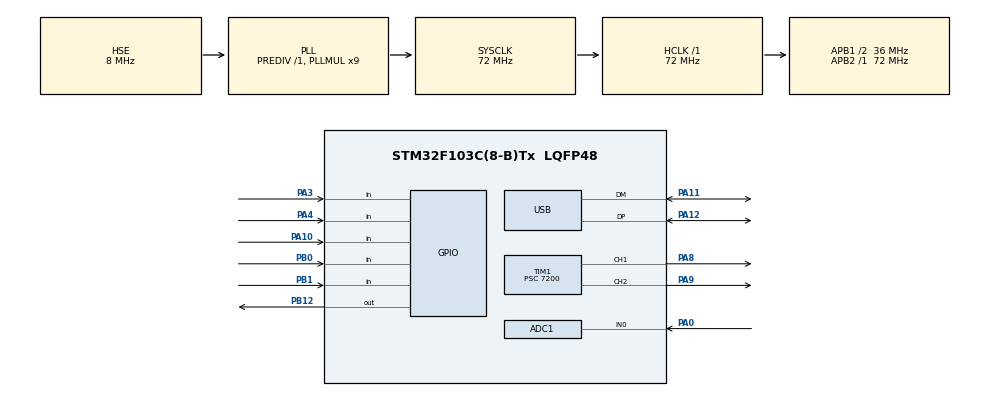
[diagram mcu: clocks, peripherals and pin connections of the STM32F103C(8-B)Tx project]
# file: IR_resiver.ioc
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ADC1.Channel-1\#ChannelRegularConversion=ADC_CHANNEL_0
ADC1.NbrOfConversionFlag=1
ADC1.Rank-1\#ChannelRegularConversion=1
ADC1.SamplingTime-1\#ChannelRegularConversion=ADC_SAMPLETIME_1CYCLE_5
ADC1.master=1
Mcu.Family=STM32F1
Mcu.Name=STM32F103C(8-B)Tx
Mcu.Package=LQFP48
NVIC.PriorityGroup=NVIC_PRIORITYGROUP_4
NVIC.TIM2_IRQn=true\:0\:0\:false\:false\:true\:true\:true
NVIC.TIM3_IRQn=true\:0\:0\:false\:false\:true\:true\:true
NVIC.USB_LP_CAN1_RX0_IRQn=true\:0\:0\:false\:false\:true\:true\:true
PA0-WKUP.Signal=ADCx_IN0
PA10.GPIO_PuPd=GPIO_PULLDOWN
PA10.Signal=GPIO_Input
PA11.Mode=Device
PA11.Signal=USB_DM
PA12.Mode=Device
PA12.Signal=USB_DP
PA13.Mode=Serial_Wire
PA13.Signal=SYS_JTMS-SWDIO
PA14.Mode=Serial_Wire
PA14.Signal=SYS_JTCK-SWCLK
PA3.Signal=GPIO_Input
PA4.Signal=GPIO_Input
PA8.Signal=S_TIM1_CH1
PA9.Signal=S_TIM1_CH2
PB0.Signal=GPIO_Input
PB1.Signal=GPIO_Input
PB12.Signal=GPIO_Output
PD0-OSC_IN.Mode=HSE-External-Oscillator
PD0-OSC_IN.Signal=RCC_OSC_IN
PD1-OSC_OUT.Mode=HSE-External-Oscillator
PD1-OSC_OUT.Signal=RCC_OSC_OUT
ProjectManager.HeapSize=0x200
ProjectManager.StackSize=0x400
ProjectManager.TargetToolchain=STM32CubeIDE
RCC.ADCPresc=RCC_ADCPCLK2_DIV6
RCC.AHBFreq_Value=72000000
RCC.APB1CLKDivider=RCC_HCLK_DIV2
RCC.APB1Freq_Value=36000000
RCC.APB1TimFreq_Value=72000000
RCC.APB2Freq_Value=72000000
RCC.APB2TimFreq_Value=72000000
RCC.HCLKFreq_Value=72000000
RCC.PLLMUL=RCC_PLL_MUL9
RCC.PLLSourceVirtual=RCC_PLLSOURCE_HSE
RCC.SYSCLKFreq_VALUE=72000000
RCC.SYSCLKSource=RCC_SYSCLKSOURCE_PLLCLK
RCC.USBFreq_Value=48000000
RCC.USBPrescaler=RCC_USBCLKSOURCE_PLL_DIV1_5
SH.ADCx_IN0.0=ADC1_IN0,IN0
SH.S_TIM1_CH1.0=TIM1_CH1,PWM Generation1 CH1
SH.S_TIM1_CH2.0=TIM1_CH2,PWM Generation2 CH2
TIM1.Channel-PWM\ Generation1\ CH1=TIM_CHANNEL_1
TIM1.Channel-PWM\ Generation2\ CH2=TIM_CHANNEL_2
TIM1.Period=100-1
TIM1.Prescaler=7200
TIM2.Period=50 - 1
TIM2.Prescaler=72
TIM3.Period=50000-1
TIM3.Prescaler=720
USB_DEVICE.CLASS_NAME_FS=CDC
USB_DEVICE.VirtualMode=Cdc
USB_DEVICE.VirtualModeFS=Cdc_FS
VP_TIM1_VS_ClockSourceINT.Mode=Internal
VP_TIM2_VS_ClockSourceINT.Mode=Internal
VP_TIM3_VS_ClockSourceINT.Mode=Internal
VP_USB_DEVICE_VS_USB_DEVICE_CDC_FS.Mode=CDC_FS
board=custom

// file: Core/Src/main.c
/* USER CODE BEGIN Header */
/**
  ******************************************************************************
  * @file           : main.c
  * @brief          : Main program body
  ******************************************************************************
  * @attention
  *
  * <h2><center>&copy; Copyright (c) 2021 STMicroelectronics.
  * All rights reserved.</center></h2>
  *
  * This software component is licensed by ST under BSD 3-Clause license,
  * the "License"; You may not use this file except in compliance with the
  * License. You may obtain a copy of the License at:
  *                        opensource.org/licenses/BSD-3-Clause
  *
  ******************************************************************************
  */
/* USER CODE END Header */
#include "main.h"
#include "usb_device.h"

/* USER CODE BEGIN Includes */
#include "Ch_protocol.h"
#include "IRresiver_ch.h"
#include "PID_ch.h"
/* USER CODE END Includes */

/* USER CODE BEGIN PD */

#define code_revl 0x40
#define code_time 0x41
#define code_menu 0x42
#define code_tecleando 0x43
#define code_distancia 0x44

/* USER CODE END PD */

ADC_HandleTypeDef hadc1;

TIM_HandleTypeDef htim1;
TIM_HandleTypeDef htim2;
TIM_HandleTypeDef htim3;

/* USER CODE BEGIN PV */

volatile uint8_t dataResiveSerial[125];

void rotate_data();
void select_data(); // selecionar el dato a cambiar

//contadores
volatile uint32_t lenBuffer, counterTime = 0;
volatile uint8_t read = 1;

uint8_t len             = 1,
		command         = 0x30,
		numData         = 0;

// DATOS

uint8_t menu = 0;
uint8_t revoluciones;
volatile uint32_t tiempo_motor;
uint8_t data_for_send[50];
volatile uint32_t counter_motor_time = 0;

// state sensores herradura

State_sensor actual, anterior;
Direction move;

uint8_t num_sensor, direccion_num,
max_menu = 2;

int distancia;
uint32_t pulsos;
uint32_t temp_dis;
uint16_t r1_enter;

// detectar velocidad

uint16_t delta_time = 1;
uint32_t velocidad = 0;

volatile uint16_t counterPID = 0;

GPIO_PinState start = GPIO_PIN_SET,
			  res_V = GPIO_PIN_RESET;
			  res_a = GPIO_PIN_RESET;

// adc_value

uint16_t adc_value;
uint8_t ampere;

float r1 = 0,r2 = 0;

/* USER CODE END PV */

void SystemClock_Config(void);
static void MX_GPIO_Init(void);
static void MX_TIM2_Init(void);
static void MX_TIM1_Init(void);
static void MX_TIM3_Init(void);
static void MX_ADC1_Init(void);

/* USER CODE BEGIN PFP */

void state_motor( Motor * ref);
void detect_vel();
void Read_ADC();
void initMotor( Motor * ref, GPIO_TypeDef * ch,
		uint16_t pin_1 , uint16_t pin_2, uint16_t tim_ch);

void ref_update();

//uint32_t prueba();

// serial communication

/* USER CODE END PFP */

int main(void)
{

  /* MCU Configuration--------------------------------------------------------*/

  /* Reset of all peripherals, Initializes the Flash interface and the Systick. */
  HAL_Init();

  /* Configure the system clock */
  SystemClock_Config();

  /* Initialize all configured peripherals */
  MX_GPIO_Init();
  MX_USB_DEVICE_Init();
  MX_TIM2_Init();
  MX_TIM1_Init();
  MX_TIM3_Init();
  MX_ADC1_Init();
  /* USER CODE BEGIN 2 */

  HAL_TIM_Base_Start_IT(&htim2);
  HAL_TIM_Base_Start(&htim3);
  HAL_TIM_PWM_Start(&htim1, TIM_CHANNEL_1);
  HAL_TIM_PWM_Start(&htim1, TIM_CHANNEL_2);

  InitResiver(GPIOA,  GPIO_PIN_10);

  protocolInit( GPIO_PIN_SET );

  initMotor(&M1, GPIOA, GPIO_PIN_2, GPIO_PIN_3, TIM_CHANNEL_1);
  initMotor(&M2, GPIOB, GPIO_PIN_0, GPIO_PIN_1, TIM_CHANNEL_2);

  revoluciones = 50;
  tiempo_motor = 0;
  numData = 0;
  pulsos = 0;

	for( uint8_t i = 0; i < 10; i++){
		dataResiveSerial[i] = 0;
	}

  // timer init CCR1

  TIM1 -> CCR1 = 100 - 1;
  TIM1 -> CCR2 = 100 - 1;
  TIM1 -> ARR = 200 - 1;
  TIM1 -> PSC = 18;

	anterior = num_sensor;
	actual = num_sensor;

	//iniciar PID para cada motor

	initPID_ch_m(&M1);
	initPID_ch_m(&M2);

  /* USER CODE END 2 */

  /* Infinite loop */
  /* USER CODE BEGIN WHILE */

  while (1)

  {

	  Read_ADC();

	  if(read){
		  reciveData();
		  read = 0;
	  }

	  if(resive){
		  leer_num();
		  select_data();
		  resive = GPIO_PIN_RESET;
	  }

	  rotate_data();

	  // controlador

	  if(counterPID > 40 && start ){

		  //PID();

		  PID_m(&M1);
		  PID_m(&M2);
		  M1.revoluciones = (uint8_t) abs( M1.pid.u - 50 );
		  M2.revoluciones = (uint8_t) abs( M2.pid.u - 50 );

		  //revoluciones = abs(u - 50);
		  counterPID = 0;

	  }

	  // actualizar estado motores
	  state_motor(&M1);
	  state_motor(&M2);

	  communication(
			  &dataResiveSerial, // donde se va a guardar los datos
			  &resive_protocol, // si ya resivio datos
			  &data_for_send, // arreglo que va a enviar
			  &command, // comando
			  &len, // longitud
			  &numData); // actualiza el dato a enviar

// dataResiveSerial[1] == 0x60 &&
	  if(  check  ){
		  ref_update();
		  M1.in_pos = 0;
		  M2.in_pos = 0;
		  check = GPIO_PIN_RESET;
	  }

    /* USER CODE END WHILE */

  }
}

void SystemClock_Config(void)
{
  RCC_OscInitTypeDef RCC_OscInitStruct = {0};
  RCC_ClkInitTypeDef RCC_ClkInitStruct = {0};
  RCC_PeriphCLKInitTypeDef PeriphClkInit = {0};

  /** Initializes the RCC Oscillators according to the specified parameters
  * in the RCC_OscInitTypeDef structure.
  */
  RCC_OscInitStruct.OscillatorType = RCC_OSCILLATORTYPE_HSE;
  RCC_OscInitStruct.HSEState = RCC_HSE_ON;
  RCC_OscInitStruct.HSEPredivValue = RCC_HSE_PREDIV_DIV1;
  RCC_OscInitStruct.HSIState = RCC_HSI_ON;
  RCC_OscInitStruct.PLL.PLLState = RCC_PLL_ON;
  RCC_OscInitStruct.PLL.PLLSource = RCC_PLLSOURCE_HSE;
  RCC_OscInitStruct.PLL.PLLMUL = RCC_PLL_MUL9;
  if (HAL_RCC_OscConfig(&RCC_OscInitStruct) != HAL_OK)
  {
    Error_Handler();
  }
  /** Initializes the CPU, AHB and APB buses clocks
  */
  RCC_ClkInitStruct.ClockType = RCC_CLOCKTYPE_HCLK|RCC_CLOCKTYPE_SYSCLK
                              |RCC_CLOCKTYPE_PCLK1|RCC_CLOCKTYPE_PCLK2;
  RCC_ClkInitStruct.SYSCLKSource = RCC_SYSCLKSOURCE_PLLCLK;
  RCC_ClkInitStruct.AHBCLKDivider = RCC_SYSCLK_DIV1;
  RCC_ClkInitStruct.APB1CLKDivider = RCC_HCLK_DIV2;
  RCC_ClkInitStruct.APB2CLKDivider = RCC_HCLK_DIV1;

  if (HAL_RCC_ClockConfig(&RCC_ClkInitStruct, FLASH_LATENCY_2) != HAL_OK)
  {
    Error_Handler();
  }
  PeriphClkInit.PeriphClockSelection = RCC_PERIPHCLK_ADC|RCC_PERIPHCLK_USB;
  PeriphClkInit.AdcClockSelection = RCC_ADCPCLK2_DIV6;
  PeriphClkInit.UsbClockSelection = RCC_USBCLKSOURCE_PLL_DIV1_5;
  if (HAL_RCCEx_PeriphCLKConfig(&PeriphClkInit) != HAL_OK)
  {
    Error_Handler();
  }
}

static void MX_ADC1_Init(void)
{

  ADC_ChannelConfTypeDef sConfig = {0};

  /** Common config
  */
  hadc1.Instance = ADC1;
  hadc1.Init.ScanConvMode = ADC_SCAN_DISABLE;
  hadc1.Init.ContinuousConvMode = DISABLE;
  hadc1.Init.DiscontinuousConvMode = DISABLE;
  hadc1.Init.ExternalTrigConv = ADC_SOFTWARE_START;
  hadc1.Init.DataAlign = ADC_DATAALIGN_RIGHT;
  hadc1.Init.NbrOfConversion = 1;
  if (HAL_ADC_Init(&hadc1) != HAL_OK)
  {
    Error_Handler();
  }
  /** Configure Regular Channel
  */
  sConfig.Channel = ADC_CHANNEL_0;
  sConfig.Rank = ADC_REGULAR_RANK_1;
  sConfig.SamplingTime = ADC_SAMPLETIME_1CYCLE_5;
  if (HAL_ADC_ConfigChannel(&hadc1, &sConfig) != HAL_OK)
  {
    Error_Handler();
  }

}

static void MX_TIM1_Init(void)
{

  TIM_ClockConfigTypeDef sClockSourceConfig = {0};
  TIM_MasterConfigTypeDef sMasterConfig = {0};
  TIM_OC_InitTypeDef sConfigOC = {0};
  TIM_BreakDeadTimeConfigTypeDef sBreakDeadTimeConfig = {0};

  htim1.Instance = TIM1;
  htim1.Init.Prescaler = 7200;
  htim1.Init.CounterMode = TIM_COUNTERMODE_UP;
  htim1.Init.Period = 100-1;
  htim1.Init.ClockDivision = TIM_CLOCKDIVISION_DIV1;
  htim1.Init.RepetitionCounter = 0;
  htim1.Init.AutoReloadPreload = TIM_AUTORELOAD_PRELOAD_DISABLE;
  if (HAL_TIM_Base_Init(&htim1) != HAL_OK)
  {
    Error_Handler();
  }
  sClockSourceConfig.ClockSource = TIM_CLOCKSOURCE_INTERNAL;
  if (HAL_TIM_ConfigClockSource(&htim1, &sClockSourceConfig) != HAL_OK)
  {
    Error_Handler();
  }
  if (HAL_TIM_PWM_Init(&htim1) != HAL_OK)
  {
    Error_Handler();
  }
  sMasterConfig.MasterOutputTrigger = TIM_TRGO_RESET;
  sMasterConfig.MasterSlaveMode = TIM_MASTERSLAVEMODE_DISABLE;
  if (HAL_TIMEx_MasterConfigSynchronization(&htim1, &sMasterConfig) != HAL_OK)
  {
    Error_Handler();
  }
  sConfigOC.OCMode = TIM_OCMODE_PWM1;
  sConfigOC.Pulse = 0;
  sConfigOC.OCPolarity = TIM_OCPOLARITY_HIGH;
  sConfigOC.OCNPolarity = TIM_OCNPOLARITY_HIGH;
  sConfigOC.OCFastMode = TIM_OCFAST_DISABLE;
  sConfigOC.OCIdleState = TIM_OCIDLESTATE_RESET;
  sConfigOC.OCNIdleState = TIM_OCNIDLESTATE_RESET;
  if (HAL_TIM_PWM_ConfigChannel(&htim1, &sConfigOC, TIM_CHANNEL_1) != HAL_OK)
  {
    Error_Handler();
  }
  if (HAL_TIM_PWM_ConfigChannel(&htim1, &sConfigOC, TIM_CHANNEL_2) != HAL_OK)
  {
    Error_Handler();
  }
  sBreakDeadTimeConfig.OffStateRunMode = TIM_OSSR_DISABLE;
  sBreakDeadTimeConfig.OffStateIDLEMode = TIM_OSSI_DISABLE;
  sBreakDeadTimeConfig.LockLevel = TIM_LOCKLEVEL_OFF;
  sBreakDeadTimeConfig.DeadTime = 0;
  sBreakDeadTimeConfig.BreakState = TIM_BREAK_DISABLE;
  sBreakDeadTimeConfig.BreakPolarity = TIM_BREAKPOLARITY_HIGH;
  sBreakDeadTimeConfig.AutomaticOutput = TIM_AUTOMATICOUTPUT_DISABLE;
  if (HAL_TIMEx_ConfigBreakDeadTime(&htim1, &sBreakDeadTimeConfig) != HAL_OK)
  {
    Error_Handler();
  }
  HAL_TIM_MspPostInit(&htim1);

}

static void MX_TIM2_Init(void)
{

  TIM_ClockConfigTypeDef sClockSourceConfig = {0};
  TIM_MasterConfigTypeDef sMasterConfig = {0};

  htim2.Instance = TIM2;
  htim2.Init.Prescaler = 72;
  htim2.Init.CounterMode = TIM_COUNTERMODE_UP;
  htim2.Init.Period = 50 - 1;
  htim2.Init.ClockDivision = TIM_CLOCKDIVISION_DIV1;
  htim2.Init.AutoReloadPreload = TIM_AUTORELOAD_PRELOAD_DISABLE;
  if (HAL_TIM_Base_Init(&htim2) != HAL_OK)
  {
    Error_Handler();
  }
  sClockSourceConfig.ClockSource = TIM_CLOCKSOURCE_INTERNAL;
  if (HAL_TIM_ConfigClockSource(&htim2, &sClockSourceConfig) != HAL_OK)
  {
    Error_Handler();
  }
  sMasterConfig.MasterOutputTrigger = TIM_TRGO_RESET;
  sMasterConfig.MasterSlaveMode = TIM_MASTERSLAVEMODE_DISABLE;
  if (HAL_TIMEx_MasterConfigSynchronization(&htim2, &sMasterConfig) != HAL_OK)
  {
    Error_Handler();
  }

}

static void MX_TIM3_Init(void)
{

  TIM_ClockConfigTypeDef sClockSourceConfig = {0};
  TIM_MasterConfigTypeDef sMasterConfig = {0};

  htim3.Instance = TIM3;
  htim3.Init.Prescaler = 720;
  htim3.Init.CounterMode = TIM_COUNTERMODE_UP;
  htim3.Init.Period = 50000-1;
  htim3.Init.ClockDivision = TIM_CLOCKDIVISION_DIV1;
  htim3.Init.AutoReloadPreload = TIM_AUTORELOAD_PRELOAD_DISABLE;
  if (HAL_TIM_Base_Init(&htim3) != HAL_OK)
  {
    Error_Handler();
  }
  sClockSourceConfig.ClockSource = TIM_CLOCKSOURCE_INTERNAL;
  if (HAL_TIM_ConfigClockSource(&htim3, &sClockSourceConfig) != HAL_OK)
  {
    Error_Handler();
  }
  sMasterConfig.MasterOutputTrigger = TIM_TRGO_RESET;
  sMasterConfig.MasterSlaveMode = TIM_MASTERSLAVEMODE_DISABLE;
  if (HAL_TIMEx_MasterConfigSynchronization(&htim3, &sMasterConfig) != HAL_OK)
  {
    Error_Handler();
  }

}

static void MX_GPIO_Init(void)
{
  GPIO_InitTypeDef GPIO_InitStruct = {0};

  /* GPIO Ports Clock Enable */
  __HAL_RCC_GPIOD_CLK_ENABLE();
  __HAL_RCC_GPIOA_CLK_ENABLE();
  __HAL_RCC_GPIOB_CLK_ENABLE();

  /*Configure GPIO pin Output Level */
  HAL_GPIO_WritePin(GPIOB, GPIO_PIN_12, GPIO_PIN_RESET);

  /*Configure GPIO pins : PA3 PA4 */
  GPIO_InitStruct.Pin = GPIO_PIN_3|GPIO_PIN_4;
  GPIO_InitStruct.Mode = GPIO_MODE_INPUT;
  GPIO_InitStruct.Pull = GPIO_NOPULL;
  HAL_GPIO_Init(GPIOA, &GPIO_InitStruct);

  /*Configure GPIO pins : PB0 PB1 */
  GPIO_InitStruct.Pin = GPIO_PIN_0|GPIO_PIN_1;
  GPIO_InitStruct.Mode = GPIO_MODE_INPUT;
  GPIO_InitStruct.Pull = GPIO_NOPULL;
  HAL_GPIO_Init(GPIOB, &GPIO_InitStruct);

  /*Configure GPIO pin : PB12 */
  GPIO_InitStruct.Pin = GPIO_PIN_12;
  GPIO_InitStruct.Mode = GPIO_MODE_OUTPUT_PP;
  GPIO_InitStruct.Pull = GPIO_NOPULL;
  GPIO_InitStruct.Speed = GPIO_SPEED_FREQ_LOW;
  HAL_GPIO_Init(GPIOB, &GPIO_InitStruct);

  /*Configure GPIO pin : PA10 */
  GPIO_InitStruct.Pin = GPIO_PIN_10;
  GPIO_InitStruct.Mode = GPIO_MODE_INPUT;
  GPIO_InitStruct.Pull = GPIO_PULLDOWN;
  HAL_GPIO_Init(GPIOA, &GPIO_InitStruct);

}

/* USER CODE BEGIN 4 */

void ref_update(){

	M2.pid.ref = (((float) (( (uint16_t) dataResiveSerial[4] << 8)
			| dataResiveSerial[3]))/0.72);

	M1.pid.ref = ((
			(float) (( (uint16_t) dataResiveSerial[6] << 8)
			| dataResiveSerial[5])) /0.72);

	if(r1 != M1.pid.ref){

		M1.pid.k = M1.pid.ref;
		Params_choose_m(&M1);
		r1 = M1.pid.ref;

	}
	if(r2 != M2.pid.ref){

		M2.pid.k = M2.pid.ref;
		Params_choose_m(&M2);
		r2 = M2.pid.ref;

	}

}

void rotate_data(){

	if(numData > 4){ // longitud de los datos a enviar
		numData = 0;
	}

	switch(numData){
	case 0:

		data_for_send[0] = (uint8_t) M1.revoluciones;
		data_for_send[1] = (uint8_t) M1.move;
		data_for_send[2] = (uint8_t) M1.pid.ref;
		data_for_send[3] = (uint8_t) ( (uint16_t) M1.pid.ref >> 8);
		data_for_send[4] = (uint8_t) ( (uint32_t) M1.pid.ref>> 16);
		data_for_send[5] = (uint8_t) adc_value;
		data_for_send[6] = (uint8_t) (adc_value >> 8);
		command = code_revl;
		len = 7;

		break;
	case 1:

		data_for_send[0] = (uint8_t) M2.pid.ref;
		data_for_send[1] = (uint8_t) ( (uint32_t) M2.pid.ref >> 8);
		data_for_send[2] = (uint8_t) ( (uint32_t) M2.pid.ref >> 16);
		data_for_send[3] = (uint8_t) r1_enter;
		data_for_send[4] = (uint8_t) (r1_enter >> 8);
		data_for_send[5] = (uint8_t) ( (M1.in_pos << 1) | (M2.in_pos));

		command = code_time;

		len = 6;

		break;

	case 2:

		data_for_send[0] = (uint8_t) menu;
		data_for_send[1] = (uint8_t) start;

		data_for_send[2] = (uint8_t) res_V;
		data_for_send[3] = (uint8_t) res_a;

		len = 4;
		command = code_menu;

		break;

	case 3:
		/*
		data_for_send[0] = (uint8_t) numero_seleccionado;
		data_for_send[1] = (uint8_t) (numero_seleccionado >> 8);
		data_for_send[2] = (uint8_t) (numero_seleccionado >> 16);
		*/

		data_for_send[0] = (uint8_t) M2.distancia;
		data_for_send[1] = (uint8_t) (M2.distancia >> 8);
		data_for_send[2] = (uint8_t) (M2.distancia >> 16);

		command = code_tecleando;
		len = 3;
		break;

	case 4:

		if(M1.distancia < 0)
		data_for_send[3] = (uint8_t) 1;
		else
		data_for_send[3] = (uint8_t) 0;

		temp_dis = (uint32_t) abs( M1.distancia);

		data_for_send[0] = (uint8_t) temp_dis;
		data_for_send[1] = (uint8_t) (temp_dis >> 8);
		data_for_send[2] = (uint8_t) (temp_dis >> 16);

		command = code_distancia;
		len = 4;

	}
}

void select_data(){

	max_menu = 5;

	if(Compress[1] == 0xEB){
		switch(Compress[0]){

		case 0xaf: // arriba
			if((menu + 1) > max_menu){
				menu = 0; // max option of the menu
			}else{
				menu += 1;
			}
			break;
		case 0xcf:
			if((menu - 1) < 0){
				menu = max_menu; // max option of the menu
			}else{
				menu -= 1;
			}
			break;
		}

		Compress[0] = 0;
	}

	if(Compress[0] == 0x68 && Compress[1] == 0xcb){

		switch(menu){
		case 0:
			if( numero_temp < 100 )
			M1.revoluciones = (uint8_t) (numero_temp);

			break;
		case 1:
			pulsos = numero_temp;
			break;
		case 2:
			if( numero_temp < 1000){

				r1_enter = numero_temp;
				M1.pid.ref = ( (float)numero_temp/0.72 );
				M1.pid.k = M1.pid.ref;
				M2.pid.ref = M1.pid.ref;
				M2.pid.k = M2.pid.ref;

				Params_choose_m(&M1);
				Params_choose_m(&M2);
			}
			break;
		case 3:
			start = !start;
			break;
		case 4:
			res_V = !res_V;
			break;
		case 5:
			res_a = !res_a;
			break;

		}
	}
}

void initMotor( Motor * ref, GPIO_TypeDef * ch, uint16_t pin_1 ,
		uint16_t pin_2, uint16_t tim_ch){

	ref -> GPIO_Pin_1 = pin_1;
	ref -> GPIO_Pin_2 = pin_2;
	ref -> GPIOx = ch;
	ref -> revoluciones = 50;
	ref -> distancia = 555;
	ref -> move = stop;
	ref -> tim_chanel = tim_ch;
	ref -> num_sensor = 0;
	ref -> num_sensor = (HAL_GPIO_ReadPin(ch, pin_2) << 1) |
			HAL_GPIO_ReadPin(ch , pin_1);
	ref -> in_pos = 0;

}

void state_motor( Motor * ref){

	ref -> num_sensor = 0;
	ref -> num_sensor =
			(HAL_GPIO_ReadPin(ref->GPIOx, ref->GPIO_Pin_2) << 1) |
			HAL_GPIO_ReadPin(ref->GPIOx, ref->GPIO_Pin_1);

	switch(ref->num_sensor){
	case 0:
		ref->actual = off_off; // 2
		break;
	case 1:
		ref->actual = off_on; // 3
		break;
	case 2:
		ref->actual = on_off; // 1
		break;
	case 3:
		ref->actual = on_on; // 4
		break;
	}

	if(ref->anterior != ref->actual){

		/*
		if(pulsos > 0){
			pulsos--;
		}
		*/
/*
		if( actual == 1 ){

			delta_time = __HAL_TIM_GET_COUNTER(&htim3);
			detect_vel();
			__HAL_TIM_SET_COUNTER(&htim3,0);

		}
*/
		if((ref->actual - ref->anterior) == 1 ||
				(ref->actual - ref->anterior) == -3 ){

			ref->move = derecha;
			ref->distancia += 1;

		}else if( (ref->actual - ref->anterior) == -1 ||
				(ref->actual - ref->anterior) == 3 ){

			ref->move = izquierda;
			ref->distancia -= 1;

		}

		ref->pid.feedback = (float) ref->distancia;

		ref->anterior = ref->actual;

	}

	/*
	else if( __HAL_TIM_GET_COUNTER(&htim3) > 45000 ){

		move = stop;
		velocidad = 0;
		v1 = 0;
		__HAL_TIM_SET_COUNTER(&htim3,0);

	}
	*/

	if( !start )
	{
		ref->porcent = (2 * 50 );
		__HAL_TIM_SET_COMPARE(&htim1, ref->tim_chanel, ref->porcent);
	}
	else{
	ref->porcent = ( (2 * ref->revoluciones) );

	__HAL_TIM_SET_COMPARE(&htim1, ref->tim_chanel, ref->porcent);

	}

}

void detect_vel(){

	uint32_t delta = (100000/delta_time);

	if( abs(delta - velocidad) < 32 ){

	  velocidad = (uint32_t) ((velocidad + delta)/2);

	}

}

// agragar función a USB_DEVICE_cdc_if CON __WEAK
void resiveRx(uint8_t* Buf, uint32_t *Len ){

	memcpy( &dataResiveSerial, Buf, Buf[2] + 5);
	lenBuffer = dataResiveSerial[2];
	resive_protocol = GPIO_PIN_SET;

}

void HAL_TIM_PeriodElapsedCallback(TIM_HandleTypeDef *htim)
{
	if(htim->Instance==TIM2)
	{
		read = 1;

		counterTime += 1;
		counterPID +=1;

		if(counterTime > 199){
			waitTime += 1;
			counterTime = 0;
		}

		if( tiempo_motor > 0 && revoluciones != 50){
			counter_motor_time += 1;
			if(counter_motor_time > 19){
				tiempo_motor --;
				counter_motor_time = 0;
			}
		}else{
			counter_motor_time = 0;
		}
	}
}

void Read_ADC(){

	HAL_ADC_Start(&hadc1);
	HAL_ADC_PollForConversion(&hadc1, 1);
	uint16_t adc_temp = (uint16_t) HAL_ADC_GetValue(&hadc1);

	adc_value = ((adc_value + adc_temp)/2);

	//ampere = (uint16_t)( ((float)adc_value ) * 0.80); // 3300/4095 = 0.80

}

/* USER CODE END 4 */

void Error_Handler(void)
{
  /* USER CODE BEGIN Error_Handler_Debug */
  /* User can add his own implementation to report the HAL error return state */
  __disable_irq();
  while (1)
  {
	  HAL_GPIO_WritePin(GPIOA, GPIO_PIN_9,GPIO_PIN_SET);
  }
  /* USER CODE END Error_Handler_Debug */
}

/************************ (C) COPYRIGHT STMicroelectronics *****END OF FILE****/
